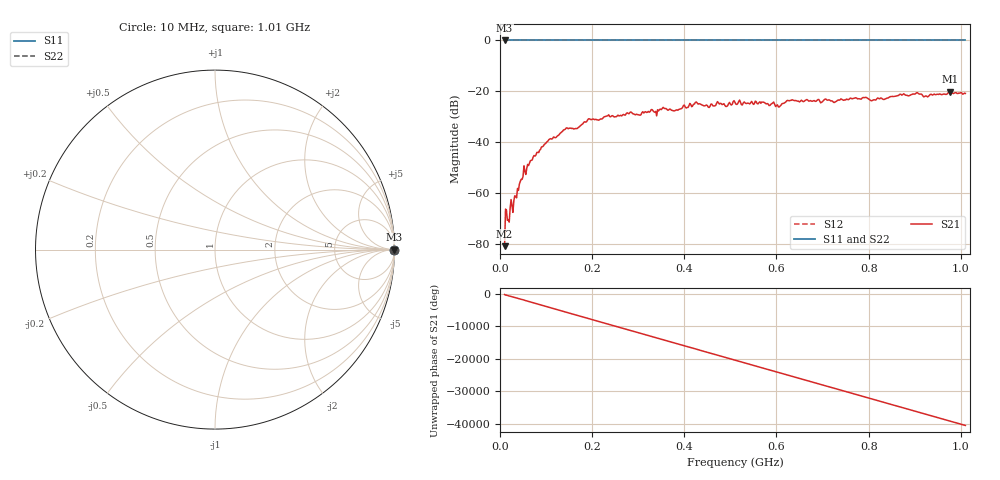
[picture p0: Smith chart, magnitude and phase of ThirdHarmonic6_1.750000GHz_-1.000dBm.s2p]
! 8/16/2025 9:06:47 PM
! C:\ANRITSUVNA\TEMP\TEMP.S2P
! CHANNEL.1
! TR.MEASUREMENT
! RAW.DATA
! RF.CORRECTION.OFF
! AVERAGING.OFF
! IF.BANDWIDTH: 5KHZ
! SWEEPTYPE:  FREQ.SWEEP(Linear)
! Reference Plane Port Info
! PORT:  PORT1  PORT2
! DISTANCE:  0  m  0  m
! TIME:  0  s  0  s
! PHASE.OFFSET:  0  deg.  0  deg.
! LOSS:  0  dB  0  dB
! REF.LOSS:  0  dB  0  dB
! REF.FREQ:  0  Hz  0  Hz
! Power Info
! POWER:  -20  dBm  -20  dBm
! EFF.POWER:  -20  dBm  -20  dBm
! SOURCE.ATTEN:  0  dB  0  dB
! TEST.ATTEN:  0  dB  0  dB
# GHZ S RI R 50.0
! FREQ.GHZ  S11RE  S11IM  S21RE  S21IM  S12RE  S12IM  S22RE  S22IM
!; PortSelection: Port_12
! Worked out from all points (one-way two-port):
!   501 points, 10 MHz to 1.01 GHz, reference 50 ohm
!   highest |S21| = -20.16 dB at 976 MHz (marker M1); lowest = -80.7 dB at 10 MHz (marker M2)
!   lowest |S11| = 0.0 dB at 10 MHz (marker M3)
!   |S11| at or under -10 dB: nowhere
!   |S22| runs from 0.0 to 0.0 dB; largest |S21 - S12| = 1.1
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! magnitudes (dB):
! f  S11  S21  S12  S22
! 10 MHz  0.0  -80.7  0.0  0.0
! 16 MHz  0.0  -70.6  0.0  0.0
! 32 MHz  0.0  -61.0  0.0  0.0
! 48 MHz  0.0  -54.5  0.0  0.0
! 70 MHz  0.0  -46.9  0.0  0.0
! 106 MHz  0.0  -38.9  0.0  0.0
! 142 MHz  0.0  -34.8  0.0  0.0
! 164 MHz  0.0  -34.6  0.0  0.0
! 178 MHz  0.0  -32.9  0.0  0.0
! 232 MHz  0.0  -29.6  0.0  0.0
! 344 MHz  0.0  -27.7  0.0  0.0
! 356 MHz  0.0  -26.6  0.0  0.0
! 382 MHz  0.0  -27.3  0.0  0.0
! 424 MHz  0.0  -24.3  0.0  0.0
! 452 MHz  0.0  -26.2  0.0  0.0
! 510 MHz  0.0  -24.3  0.0  0.0
! 602 MHz  0.0  -25.2  0.0  0.0
! 626 MHz  0.0  -23.6  0.0  0.0
! 678 MHz  0.0  -23.9  0.0  0.0
! 844 MHz  0.0  -22.4  0.0  0.0
! 976 MHz  0.0  -20.2  0.0  0.0
! 1.01 GHz  0.0  -20.8  0.0  0.0
